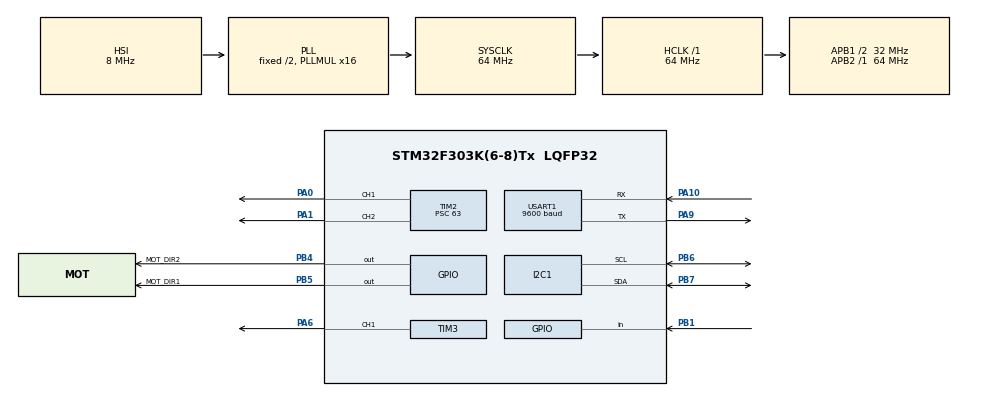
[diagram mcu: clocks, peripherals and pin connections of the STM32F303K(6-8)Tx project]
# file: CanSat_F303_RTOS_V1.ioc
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FREERTOS.Tasks01=MotorTask,8,128,StartMotorTask,Default,NULL,Dynamic,NULL,NULL;SensorTask,32,256,StartSensorTask,Default,NULL,Dynamic,NULL,NULL;NavTask,16,320,StartNavTask,Default,NULL,Dynamic,NULL,NULL;MissionTask,24,192,StartMissionTask,Default,NULL,Dynamic,NULL,NULL
FREERTOS.configTOTAL_HEAP_SIZE=5000
FREERTOS.configUSE_NEWLIB_REENTRANT=1
I2C1.Timing=0x00201D2B
Mcu.Family=STM32F3
Mcu.Name=STM32F303K(6-8)Tx
Mcu.Package=LQFP32
NVIC.PriorityGroup=NVIC_PRIORITYGROUP_4
NVIC.TIM1_UP_TIM16_IRQn=true\:15\:0\:true\:false\:true\:false\:false\:true\:true
NVIC.TimeBase=TIM1_UP_TIM16_IRQn
NVIC.TimeBaseIP=TIM1
NVIC.USART1_IRQn=true\:5\:0\:false\:false\:true\:true\:true\:true\:true
PA0.Signal=S_TIM2_CH1_ETR
PA1.Signal=S_TIM2_CH2
PA10.Mode=Asynchronous
PA10.Signal=USART1_RX
PA6.Signal=S_TIM3_CH1
PA9.Mode=Asynchronous
PA9.Signal=USART1_TX
PB1.GPIO_PuPd=GPIO_PULLUP
PB1.Signal=GPIO_Input
PB4.GPIO_Label=MOT_DIR2
PB4.Signal=GPIO_Output
PB5.GPIO_Label=MOT_DIR1
PB5.Signal=GPIO_Output
PB6.Mode=I2C
PB6.Signal=I2C1_SCL
PB7.Mode=I2C
PB7.Signal=I2C1_SDA
ProjectManager.HeapSize=0x200
ProjectManager.StackSize=0x400
ProjectManager.TargetToolchain=STM32CubeIDE
RCC.AHBFreq_Value=64000000
RCC.APB1CLKDivider=RCC_HCLK_DIV2
RCC.APB1Freq_Value=32000000
RCC.APB1TimFreq_Value=64000000
RCC.APB2Freq_Value=64000000
RCC.APB2TimFreq_Value=64000000
RCC.CortexFreq_Value=64000000
RCC.HCLKFreq_Value=64000000
RCC.HSE_VALUE=8000000
RCC.HSI_VALUE=8000000
RCC.PLLMUL=RCC_PLL_MUL16
RCC.SYSCLKFreq_VALUE=64000000
RCC.SYSCLKSourceVirtual=RCC_SYSCLKSOURCE_PLLCLK
SH.S_TIM2_CH1_ETR.0=TIM2_CH1,PWM Generation1 CH1
SH.S_TIM2_CH2.0=TIM2_CH2,PWM Generation2 CH2
SH.S_TIM3_CH1.0=TIM3_CH1,PWM Generation1 CH1
TIM2.AutoReloadPreload=TIM_AUTORELOAD_PRELOAD_ENABLE
TIM2.Channel-PWM\ Generation1\ CH1=TIM_CHANNEL_1
TIM2.Channel-PWM\ Generation2\ CH2=TIM_CHANNEL_2
TIM2.Period=19999
TIM2.Prescaler=63
TIM3.AutoReloadPreload=TIM_AUTORELOAD_PRELOAD_ENABLE
TIM3.Channel-PWM\ Generation1\ CH1=TIM_CHANNEL_1
TIM3.Period=999
TIM3.Prescaler=63
USART1.BaudRate=9600
USART1.VirtualMode-Asynchronous=VM_ASYNC
VP_FREERTOS_VS_CMSIS_V2.Mode=CMSIS_V2
VP_SYS_VS_tim1.Mode=TIM1
VP_TIM2_VS_ClockSourceINT.Mode=Internal
VP_TIM3_VS_ClockSourceINT.Mode=Internal
board=custom

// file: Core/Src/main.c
/* USER CODE BEGIN Header */

/**

******************************************************************************

* @file : main.c

* @brief : Main program body

******************************************************************************

* @attention

*

* Copyright (c) 2026 STMicroelectronics.

* All rights reserved.

*

* This software is licensed under terms that can be found in the LICENSE file

* in the root directory of this software component.

* If no LICENSE file comes with this software, it is provided AS-IS.

*

******************************************************************************

*/

/* USER CODE END Header */
#include "main.h"
#include "cmsis_os.h"

/* USER CODE BEGIN Includes */
#include <string.h> // Para manejar cadenas de texto
#include <stdlib.h> // Para funciones como atof
#include <math.h>   // VITAL para senos, cosenos y raíces
#include <stdio.h>
/* USER CODE END Includes */

/* USER CODE BEGIN PTD */

typedef enum {
    ST_STANDBY = 0,
    ST_FLIGHT,
    ST_DESCENT,
    ST_DEPLOYMENT,
    ST_LANDED
} MissionState_t;

MissionState_t current_state = ST_STANDBY;

/* USER CODE END PTD */

I2C_HandleTypeDef hi2c1;

TIM_HandleTypeDef htim2;
TIM_HandleTypeDef htim3;

UART_HandleTypeDef huart1;

/* Definitions for MotorTask */
osThreadId_t MotorTaskHandle;
const osThreadAttr_t MotorTask_attributes = {
  .name = "MotorTask",
  .stack_size = 128 * 4,
  .priority = (osPriority_t) osPriorityLow,
};
/* Definitions for SensorTask */
osThreadId_t SensorTaskHandle;
const osThreadAttr_t SensorTask_attributes = {
  .name = "SensorTask",
  .stack_size = 256 * 4,
  .priority = (osPriority_t) osPriorityAboveNormal,
};
/* Definitions for NavTask */
osThreadId_t NavTaskHandle;
const osThreadAttr_t NavTask_attributes = {
  .name = "NavTask",
  .stack_size = 320 * 4,
  .priority = (osPriority_t) osPriorityBelowNormal,
};
/* Definitions for MissionTask */
osThreadId_t MissionTaskHandle;
const osThreadAttr_t MissionTask_attributes = {
  .name = "MissionTask",
  .stack_size = 192 * 4,
  .priority = (osPriority_t) osPriorityNormal,
};
/* USER CODE BEGIN PV */
// 1. Identificadores de Hardware
volatile uint8_t sensor_id = 0, mag_id = 0, bmp_id = 0;

// 2. Datos Crudos (Raw) del MPU
float ax, ay, az;
float gx, gy, gz;

// 3. Filtro de Kernel (Promedio Móvil de 5 muestras)
// Estos arreglos guardan las últimas lecturas para "suavizarlas"
float ax_kernel[5] = {0}, ay_kernel[5] = {0}, az_kernel[5] = {0};
uint8_t k_idx = 0; // Índice del buffer circular
float ax_f, ay_f, az_f; // Valores ya filtrados

// 4. Orientación (Euler) y Fusión
float roll = 0.0f, pitch = 0.0f;
const float alpha = 0.98f; // Peso del filtro complementario
const float dt = 0.02f;    // Tiempo de muestreo (50Hz)

// 5. Variables GPS
uint8_t gps_data;
char gps_buffer[100];
uint8_t gps_idx = 0;
volatile uint8_t gps_ready = 0; // <--- AGREGAR ESTA LÍNEA
char msg_telemetria[160];
/* --- BMP280: Calibración y Datos --- */
uint16_t dig_T1; int16_t dig_T2, dig_T3;
uint16_t dig_P1; int16_t dig_P2, dig_P3, dig_P4, dig_P5, dig_P6, dig_P7, dig_P8, dig_P9;
//float sea_level_pa = 101325.0f; // Presión estándar al nivel del mar (ajustable)

float pressure_ref = 1013.25f; // Se actualizará al calibrar
volatile uint8_t calibrated = 0; // Flag de seguridad

float altitude = 0.0f;
volatile float temperature = 0.0f; // El volatile le prohíbe al compilador borrarla
float pressure_hpa = 0.0f; // <--- AGREGAR ESTA LÍNEA
volatile float mx, my, mz; // MicroTeslas

float last_altitude = 0.0f;
float vertical_velocity = 0.0f;
uint32_t last_tick = 0;

/* USER CODE END PV */

void SystemClock_Config(void);
static void MX_GPIO_Init(void);
static void MX_I2C1_Init(void);
static void MX_USART1_UART_Init(void);
static void MX_TIM3_Init(void);
static void MX_TIM2_Init(void);
void StartMotorTask(void *argument);
void StartSensorTask(void *argument);
void StartNavTask(void *argument);
void StartMissionTask(void *argument);

/* USER CODE BEGIN PFP */
float Compensate_Pressure(int32_t adc_P, int32_t adc_T);
/* USER CODE END PFP */

int main(void)
{

  /* MCU Configuration--------------------------------------------------------*/

  /* Reset of all peripherals, Initializes the Flash interface and the Systick. */
  HAL_Init();

  /* Configure the system clock */
  SystemClock_Config();

  /* USER CODE BEGIN 2 */

  MX_GPIO_Init();
  MX_I2C1_Init();
  MX_USART1_UART_Init();
  MX_TIM3_Init();
  MX_TIM2_Init();
  /* USER CODE BEGIN 2 */

  HAL_Delay(100);
  /* USER CODE BEGIN 2 */
  // --- TEST DE SUPERVIVENCIA PB6 Y PB7 ---
  HAL_UART_Transmit(&huart1, (uint8_t*)"[!] INICIANDO TEST DE FUERZA BRUTA EN PB6/PB7...\r\n", 51, 100);

  GPIO_InitTypeDef GPIO_InitStructTest = {0};
  __HAL_RCC_GPIOB_CLK_ENABLE();

  // Configuramos como OUTPUT PUSH-PULL (Fuerza máxima)
  GPIO_InitStructTest.Pin = GPIO_PIN_6 | GPIO_PIN_7;
  GPIO_InitStructTest.Mode = GPIO_MODE_OUTPUT_PP;
  GPIO_InitStructTest.Pull = GPIO_NOPULL;
  GPIO_InitStructTest.Speed = GPIO_SPEED_FREQ_LOW;
  HAL_GPIO_Init(GPIOB, &GPIO_InitStructTest);

  // FORZAMOS EL "1" LÓGICO (Debería dar 3.3V)
  HAL_GPIO_WritePin(GPIOB, GPIO_PIN_6 | GPIO_PIN_7, GPIO_PIN_SET);

  // Aquí te doy tiempo para medir con el multímetro
  HAL_Delay(10000);

  // LUEGO FORZAMOS EL "0" LÓGICO (Debería dar 0V)
  HAL_GPIO_WritePin(GPIOB, GPIO_PIN_6 | GPIO_PIN_7, GPIO_PIN_RESET);
  /* USER CODE END 2 */
  // 1. Reset y Despertar MPU
  uint8_t res_v = 0x80;
  HAL_I2C_Mem_Write(&hi2c1, (0x68<<1), 0x6B, 1, &res_v, 1, 100);
  HAL_Delay(50);
  uint8_t wk_up = 0x01;
  HAL_I2C_Mem_Write(&hi2c1, (0x68<<1), 0x6B, 1, &wk_up, 1, 100);

  // 2. Configurar el puente (Bypass) y desactivar Master Mode
  uint8_t master_dis = 0x00;
  HAL_I2C_Mem_Write(&hi2c1, (0x68<<1), 0x6A, 1, &master_dis, 1, 100);
  uint8_t byp = 0x02;
  HAL_I2C_Mem_Write(&hi2c1, (0x68<<1), 0x37, 1, &byp, 1, 100);
  HAL_Delay(10);

  // 3. LECTURA DE IDENTIDAD (Handshake) - Esto debe ir ANTES de los IF
  HAL_I2C_Mem_Read(&hi2c1, (0x68<<1), 0x75, 1, (uint8_t*)&sensor_id, 1, 100);
  HAL_I2C_Mem_Read(&hi2c1, (0x0C<<1), 0x00, 1, (uint8_t*)&mag_id, 1, 100);
  HAL_I2C_Mem_Read(&hi2c1, (0x76<<1), 0xD0, 1, (uint8_t*)&bmp_id, 1, 100);

  // 4. Inicializar BMP280 si fue detectado
  if(bmp_id == 0x58) {
      uint8_t bmp_conf = 0x57;
      HAL_I2C_Mem_Write(&hi2c1, (0x76<<1), 0xF4, 1, &bmp_conf, 1, 100);

      uint8_t calib[24];
      HAL_I2C_Mem_Read(&hi2c1, (0x76<<1), 0x88, 1, calib, 24, 100);
      dig_T1 = (calib[1] << 8) | calib[0];
      dig_T2 = (int16_t)((calib[3] << 8) | calib[2]);
      dig_T3 = (int16_t)((calib[5] << 8) | calib[4]);
      dig_P1 = (calib[7] << 8) | calib[6];
      dig_P2 = (int16_t)((calib[9] << 8) | calib[8]);
      dig_P3 = (int16_t)((calib[11] << 8) | calib[10]);
      dig_P4 = (int16_t)((calib[13] << 8) | calib[12]);
      dig_P5 = (int16_t)((calib[15] << 8) | calib[14]);
      dig_P6 = (int16_t)((calib[17] << 8) | calib[16]);
      dig_P7 = (int16_t)((calib[19] << 8) | calib[18]);
      dig_P8 = (int16_t)((calib[21] << 8) | calib[20]);
      dig_P9 = (int16_t)((calib[23] << 8) | calib[22]);
  }

  if(bmp_id == 0x58) {
      float p_sum = 0;
      for(int i = 0; i < 20; i++) {
          uint8_t b_data[6];
          HAL_I2C_Mem_Read(&hi2c1, (0x76<<1), 0xF7, 1, b_data, 6, 100);
          int32_t adc_P = (b_data[0] << 12) | (b_data[1] << 4) | (b_data[2] >> 4);
          int32_t adc_T = (b_data[3] << 12) | (b_data[4] << 4) | (b_data[5] >> 4);

          // AHORA SÍ calculamos la presión real en cada iteración
          p_sum += Compensate_Pressure(adc_P, adc_T);
          HAL_Delay(50);
      }
      pressure_ref = p_sum / 20.0f;
      calibrated = 1;
  }
  // 5. Inicializar Magnetómetro si fue detectado
  if(mag_id == 0x48) {
      uint8_t m_mode = 0x16;
      HAL_I2C_Mem_Write(&hi2c1, (0x0C<<1), 0x0A, 1, &m_mode, 1, 100);
  }

HAL_UART_Receive_IT(&huart1, &gps_data, 1);
  /* USER CODE END 2 */

  /* Init scheduler */
  osKernelInitialize();

  /* Create the thread(s) */
  /* creation of MotorTask */
  MotorTaskHandle = osThreadNew(StartMotorTask, NULL, &MotorTask_attributes);

  /* creation of SensorTask */
  SensorTaskHandle = osThreadNew(StartSensorTask, NULL, &SensorTask_attributes);

  /* creation of NavTask */
  NavTaskHandle = osThreadNew(StartNavTask, NULL, &NavTask_attributes);

  /* creation of MissionTask */
  MissionTaskHandle = osThreadNew(StartMissionTask, NULL, &MissionTask_attributes);

  /* Start scheduler */
  osKernelStart();

  /* We should never get here as control is now taken by the scheduler */

  /* Infinite loop */
  while (1)
  {

  }
}

void SystemClock_Config(void)
{
  RCC_OscInitTypeDef RCC_OscInitStruct = {0};
  RCC_ClkInitTypeDef RCC_ClkInitStruct = {0};
  RCC_PeriphCLKInitTypeDef PeriphClkInit = {0};

  /** Initializes the RCC Oscillators according to the specified parameters
  * in the RCC_OscInitTypeDef structure.
  */
  RCC_OscInitStruct.OscillatorType = RCC_OSCILLATORTYPE_HSI;
  RCC_OscInitStruct.HSIState = RCC_HSI_ON;
  RCC_OscInitStruct.HSICalibrationValue = RCC_HSICALIBRATION_DEFAULT;
  RCC_OscInitStruct.PLL.PLLState = RCC_PLL_ON;
  RCC_OscInitStruct.PLL.PLLSource = RCC_PLLSOURCE_HSI;
  RCC_OscInitStruct.PLL.PLLMUL = RCC_PLL_MUL16;
  if (HAL_RCC_OscConfig(&RCC_OscInitStruct) != HAL_OK)
  {
    Error_Handler();
  }

  /** Initializes the CPU, AHB and APB buses clocks
  */
  RCC_ClkInitStruct.ClockType = RCC_CLOCKTYPE_HCLK|RCC_CLOCKTYPE_SYSCLK
                              |RCC_CLOCKTYPE_PCLK1|RCC_CLOCKTYPE_PCLK2;
  RCC_ClkInitStruct.SYSCLKSource = RCC_SYSCLKSOURCE_PLLCLK;
  RCC_ClkInitStruct.AHBCLKDivider = RCC_SYSCLK_DIV1;
  RCC_ClkInitStruct.APB1CLKDivider = RCC_HCLK_DIV2;
  RCC_ClkInitStruct.APB2CLKDivider = RCC_HCLK_DIV1;

  if (HAL_RCC_ClockConfig(&RCC_ClkInitStruct, FLASH_LATENCY_2) != HAL_OK)
  {
    Error_Handler();
  }
  PeriphClkInit.PeriphClockSelection = RCC_PERIPHCLK_USART1|RCC_PERIPHCLK_I2C1;
  PeriphClkInit.Usart1ClockSelection = RCC_USART1CLKSOURCE_PCLK1;
  PeriphClkInit.I2c1ClockSelection = RCC_I2C1CLKSOURCE_HSI;
  if (HAL_RCCEx_PeriphCLKConfig(&PeriphClkInit) != HAL_OK)
  {
    Error_Handler();
  }
}

static void MX_I2C1_Init(void)
{

  hi2c1.Instance = I2C1;
  hi2c1.Init.Timing = 0x00201D2B;
  hi2c1.Init.OwnAddress1 = 0;
  hi2c1.Init.AddressingMode = I2C_ADDRESSINGMODE_7BIT;
  hi2c1.Init.DualAddressMode = I2C_DUALADDRESS_DISABLE;
  hi2c1.Init.OwnAddress2 = 0;
  hi2c1.Init.OwnAddress2Masks = I2C_OA2_NOMASK;
  hi2c1.Init.GeneralCallMode = I2C_GENERALCALL_DISABLE;
  hi2c1.Init.NoStretchMode = I2C_NOSTRETCH_DISABLE;
  if (HAL_I2C_Init(&hi2c1) != HAL_OK)
  {
    Error_Handler();
  }

  /** Configure Analogue filter
  */
  if (HAL_I2CEx_ConfigAnalogFilter(&hi2c1, I2C_ANALOGFILTER_ENABLE) != HAL_OK)
  {
    Error_Handler();
  }

  /** Configure Digital filter
  */
  if (HAL_I2CEx_ConfigDigitalFilter(&hi2c1, 0) != HAL_OK)
  {
    Error_Handler();
  }

}

static void MX_TIM2_Init(void)
{

  TIM_ClockConfigTypeDef sClockSourceConfig = {0};
  TIM_MasterConfigTypeDef sMasterConfig = {0};
  TIM_OC_InitTypeDef sConfigOC = {0};

  htim2.Instance = TIM2;
  htim2.Init.Prescaler = 63;
  htim2.Init.CounterMode = TIM_COUNTERMODE_UP;
  htim2.Init.Period = 19999;
  htim2.Init.ClockDivision = TIM_CLOCKDIVISION_DIV1;
  htim2.Init.AutoReloadPreload = TIM_AUTORELOAD_PRELOAD_ENABLE;
  if (HAL_TIM_Base_Init(&htim2) != HAL_OK)
  {
    Error_Handler();
  }
  sClockSourceConfig.ClockSource = TIM_CLOCKSOURCE_INTERNAL;
  if (HAL_TIM_ConfigClockSource(&htim2, &sClockSourceConfig) != HAL_OK)
  {
    Error_Handler();
  }
  if (HAL_TIM_PWM_Init(&htim2) != HAL_OK)
  {
    Error_Handler();
  }
  sMasterConfig.MasterOutputTrigger = TIM_TRGO_RESET;
  sMasterConfig.MasterSlaveMode = TIM_MASTERSLAVEMODE_DISABLE;
  if (HAL_TIMEx_MasterConfigSynchronization(&htim2, &sMasterConfig) != HAL_OK)
  {
    Error_Handler();
  }
  sConfigOC.OCMode = TIM_OCMODE_PWM1;
  sConfigOC.Pulse = 0;
  sConfigOC.OCPolarity = TIM_OCPOLARITY_HIGH;
  sConfigOC.OCFastMode = TIM_OCFAST_DISABLE;
  if (HAL_TIM_PWM_ConfigChannel(&htim2, &sConfigOC, TIM_CHANNEL_1) != HAL_OK)
  {
    Error_Handler();
  }
  if (HAL_TIM_PWM_ConfigChannel(&htim2, &sConfigOC, TIM_CHANNEL_2) != HAL_OK)
  {
    Error_Handler();
  }
  HAL_TIM_MspPostInit(&htim2);

}

static void MX_TIM3_Init(void)
{

  TIM_ClockConfigTypeDef sClockSourceConfig = {0};
  TIM_MasterConfigTypeDef sMasterConfig = {0};
  TIM_OC_InitTypeDef sConfigOC = {0};

  htim3.Instance = TIM3;
  htim3.Init.Prescaler = 63;
  htim3.Init.CounterMode = TIM_COUNTERMODE_UP;
  htim3.Init.Period = 999;
  htim3.Init.ClockDivision = TIM_CLOCKDIVISION_DIV1;
  htim3.Init.AutoReloadPreload = TIM_AUTORELOAD_PRELOAD_ENABLE;
  if (HAL_TIM_Base_Init(&htim3) != HAL_OK)
  {
    Error_Handler();
  }
  sClockSourceConfig.ClockSource = TIM_CLOCKSOURCE_INTERNAL;
  if (HAL_TIM_ConfigClockSource(&htim3, &sClockSourceConfig) != HAL_OK)
  {
    Error_Handler();
  }
  if (HAL_TIM_PWM_Init(&htim3) != HAL_OK)
  {
    Error_Handler();
  }
  sMasterConfig.MasterOutputTrigger = TIM_TRGO_RESET;
  sMasterConfig.MasterSlaveMode = TIM_MASTERSLAVEMODE_DISABLE;
  if (HAL_TIMEx_MasterConfigSynchronization(&htim3, &sMasterConfig) != HAL_OK)
  {
    Error_Handler();
  }
  sConfigOC.OCMode = TIM_OCMODE_PWM1;
  sConfigOC.Pulse = 0;
  sConfigOC.OCPolarity = TIM_OCPOLARITY_HIGH;
  sConfigOC.OCFastMode = TIM_OCFAST_DISABLE;
  if (HAL_TIM_PWM_ConfigChannel(&htim3, &sConfigOC, TIM_CHANNEL_1) != HAL_OK)
  {
    Error_Handler();
  }
  HAL_TIM_MspPostInit(&htim3);

}

static void MX_USART1_UART_Init(void)
{

  huart1.Instance = USART1;
  huart1.Init.BaudRate = 9600;
  huart1.Init.WordLength = UART_WORDLENGTH_8B;
  huart1.Init.StopBits = UART_STOPBITS_1;
  huart1.Init.Parity = UART_PARITY_NONE;
  huart1.Init.Mode = UART_MODE_TX_RX;
  huart1.Init.HwFlowCtl = UART_HWCONTROL_NONE;
  huart1.Init.OverSampling = UART_OVERSAMPLING_16;
  huart1.Init.OneBitSampling = UART_ONE_BIT_SAMPLE_DISABLE;
  huart1.AdvancedInit.AdvFeatureInit = UART_ADVFEATURE_NO_INIT;
  if (HAL_UART_Init(&huart1) != HAL_OK)
  {
    Error_Handler();
  }

}

static void MX_GPIO_Init(void)
{
  GPIO_InitTypeDef GPIO_InitStruct = {0};

  /* GPIO Ports Clock Enable */
  __HAL_RCC_GPIOA_CLK_ENABLE();
  __HAL_RCC_GPIOB_CLK_ENABLE();

  /*Configure GPIO pin Output Level */
  HAL_GPIO_WritePin(GPIOB, MOT_DIR2_Pin|MOT_DIR1_Pin, GPIO_PIN_RESET);

  /*Configure GPIO pin : PB1 */
  GPIO_InitStruct.Pin = GPIO_PIN_1;
  GPIO_InitStruct.Mode = GPIO_MODE_INPUT;
  GPIO_InitStruct.Pull = GPIO_PULLUP;
  HAL_GPIO_Init(GPIOB, &GPIO_InitStruct);

  /*Configure GPIO pins : MOT_DIR2_Pin MOT_DIR1_Pin */
  GPIO_InitStruct.Pin = MOT_DIR2_Pin|MOT_DIR1_Pin;
  GPIO_InitStruct.Mode = GPIO_MODE_OUTPUT_PP;
  GPIO_InitStruct.Pull = GPIO_NOPULL;
  GPIO_InitStruct.Speed = GPIO_SPEED_FREQ_LOW;
  HAL_GPIO_Init(GPIOB, &GPIO_InitStruct);

}

/* USER CODE BEGIN 4 */
void HAL_UART_RxCpltCallback(UART_HandleTypeDef *huart) {
    if (huart->Instance == USART1) {
        // Almacenamos el byte recibido en el buffer
        if (gps_data != '\n' && gps_idx < 99) {
            gps_buffer[gps_idx++] = gps_data;
        } else {
            gps_buffer[gps_idx] = '\0'; // Cerramos la cadena
            gps_ready = 1;              // Avisamos que hay una trama lista
            gps_idx = 0;                // Reiniciamos índice
        }
        // ¡VITAL! Volver a activar la interrupción para el siguiente byte
        HAL_UART_Receive_IT(&huart1, &gps_data, 1);
    }
}

float Compensate_Pressure(int32_t adc_P, int32_t adc_T) {
    double v1, v2, t_fine, p_var1, p_var2, p;

    // Compensación de Temperatura
    v1 = (((double)adc_T)/16384.0 - ((double)dig_T1)/1024.0) * ((double)dig_T2);
    v2 = ((((double)adc_T)/131072.0 - ((double)dig_T1)/8192.0) *
         (((double)adc_T)/131072.0 - ((double)dig_T1)/8192.0)) * ((double)dig_T3);
    t_fine = v1 + v2;
    temperature = (float)(t_fine / 5120.0);
    // Compensación de Presión
    p_var1 = (t_fine/2.0) - 64000.0;
    p_var2 = p_var1 * p_var1 * ((double)dig_P6) / 32768.0;
    p_var2 = p_var2 + p_var1 * ((double)dig_P5) * 2.0;
    p_var2 = (p_var2/4.0) + (((double)dig_P4) * 65536.0);
    p_var1 = (((double)dig_P3) * p_var1 * p_var1 / 524288.0 + ((double)dig_P2) * p_var1) / 524288.0;
    p_var1 = (1.0 + p_var1 / 32768.0) * ((double)dig_P1);

    if (p_var1 == 0.0) return 0;
    p = 1048576.0 - (double)adc_P;
    p = (p - (p_var2 / 4096.0)) * 6250.0 / p_var1;
    p_var1 = ((double)dig_P9) * p * p / 2147483648.0;
    p_var2 = p * ((double)dig_P8) / 32768.0;
    return (float)((p + (p_var1 + p_var2 + ((double)dig_P7)) / 16.0) / 100.0);
}

void HAL_UART_ErrorCallback(UART_HandleTypeDef *huart) {
    if (huart->Instance == USART1) {
        // 1. Limpiar flags de error (Overrun, Noise, Frame Error)
        __HAL_UART_CLEAR_FLAG(huart, UART_CLEAR_OREF | UART_CLEAR_NEF | UART_CLEAR_FEF);

        // 2. Reiniciar la escucha por interrupción
        HAL_UART_Receive_IT(huart, &gps_data, 1);
    }
}
/* USER CODE END 4 */

void StartMotorTask(void *argument)
{
  /* USER CODE BEGIN StartMotorTask */
  // 1. Arrancamos los periféricos de hardware
  HAL_TIM_PWM_Start(&htim2, TIM_CHANNEL_1); // Servo 1
  HAL_TIM_PWM_Start(&htim2, TIM_CHANNEL_2); // Servo 2
  HAL_TIM_PWM_Start(&htim3, TIM_CHANNEL_1); // Motor N20

  // 2. Aseguramos que empiecen en REPOSO (0V)
  __HAL_TIM_SET_COMPARE(&htim2, TIM_CHANNEL_1, 0);
  __HAL_TIM_SET_COMPARE(&htim2, TIM_CHANNEL_2, 0);
  __HAL_TIM_SET_COMPARE(&htim3, TIM_CHANNEL_1, 0);

  HAL_UART_Transmit(&huart1, (uint8_t*)"\r\n[!] MOTOR_TASK: READY\r\n", 26, 100);

  for(;;) {
    // Esperamos la señal de la MissionTask (Infrarrojo o Altura)
    uint32_t flags = osThreadFlagsWait(0x01, osFlagsWaitAny, osWaitForever);

    if(flags == 0x01) {
        HAL_UART_Transmit(&huart1, (uint8_t*)"[!] DESPLIEGUE INICIADO\r\n", 25, 100);

        // A. Movemos Servos (MG90S a ~45 grados -> 1250us)
        __HAL_TIM_SET_COMPARE(&htim2, TIM_CHANNEL_1, 1250);
        __HAL_TIM_SET_COMPARE(&htim2, TIM_CHANNEL_2, 1250);

        osDelay(200); // Pausa para evitar pico de corriente masivo

        // B. Arrancamos Motor N20 (80% potencia para vencer inercia)
        HAL_GPIO_WritePin(GPIOB, MOT_DIR1_Pin, GPIO_PIN_SET);
        HAL_GPIO_WritePin(GPIOB, MOT_DIR2_Pin, GPIO_PIN_RESET);
        __HAL_TIM_SET_COMPARE(&htim3, TIM_CHANNEL_1, 800);
    }
  }
  /* USER CODE END StartMotorTask */
}

void StartSensorTask(void *argument)
{
  /* USER CODE BEGIN StartSensorTask */
  uint8_t mpu_buf[14]; // Buffer para lectura rápida (Burst Read)

  for(;;)
  {
    // Solo leemos si el sensor respondió al inicio (ID 112 o 113)
    if(sensor_id != 0)
    {
    	// --- LECTURA MAGNETÓMETRO (AK8963) ---
    	if(mag_id == 0x48) // Solo si lo encontró al inicio
    	{
    	    uint8_t m_buf[7]; // 6 bytes de datos + 1 de Status (ST2)
    	    // Leemos desde el registro 0x03 (X-Low) hasta el 0x09 (Status 2)
    	    if(HAL_I2C_Mem_Read(&hi2c1, (0x0C<<1), 0x03, 1, m_buf, 7, 20) == HAL_OK)
    	    {
    	        // Los datos son Little Endian (Byte bajo primero)
    	        // El factor 0.15f convierte el valor crudo a MicroTeslas (uT)
    	        mx = (int16_t)(m_buf[1] << 8 | m_buf[0]) * 0.15f;
    	        my = (int16_t)(m_buf[3] << 8 | m_buf[2]) * 0.15f;
    	        mz = (int16_t)(m_buf[5] << 8 | m_buf[4]) * 0.15f;
    	    }
    	}
      if(HAL_I2C_Mem_Read(&hi2c1, (0x68<<1), 0x3B, 1, mpu_buf, 14, 20) == HAL_OK)
      {
        // 1. Convertir datos crudos a unidades físicas (Aceleración y Giro)
        float raw_ax = (int16_t)(mpu_buf[0] << 8 | mpu_buf[1]) / 16384.0f;
        float raw_ay = (int16_t)(mpu_buf[2] << 8 | mpu_buf[3]) / 16384.0f;
        float raw_az = (int16_t)(mpu_buf[4] << 8 | mpu_buf[5]) / 16384.0f;

        gx = ((int16_t)(mpu_buf[8] << 8 | mpu_buf[9]) / 131.0f);
        gy = ((int16_t)(mpu_buf[10] << 8 | mpu_buf[11]) / 131.0f);
        gz = ((int16_t)(mpu_buf[12] << 8 | mpu_buf[13]) / 131.0f);

        // ... dentro del bloque HAL_OK ...
        // 2. APLICAR FILTRO DE KERNEL (Promedio Móvil)
        ax_kernel[k_idx] = raw_ax;
        ay_kernel[k_idx] = raw_ay;
        az_kernel[k_idx] = raw_az;
        k_idx = (k_idx + 1) % 5;

        // Promedios corregidos
        ax_f = (ax_kernel[0] + ax_kernel[1] + ax_kernel[2] + ax_kernel[3] + ax_kernel[4]) / 5.0f;
        ay_f = (ay_kernel[0] + ay_kernel[1] + ay_kernel[2] + ay_kernel[3] + ay_kernel[4]) / 5.0f;
        az_f = (az_kernel[0] + az_kernel[1] + az_kernel[2] + az_kernel[3] + az_kernel[4]) / 5.0f; // <--- Cambiar 'ax' por 'az'
      }

      float roll_acc = atan2f(ay_f, az_f) * 57.2957f;
      float pitch_acc = atan2f(-ax_f, sqrtf(ay_f * ay_f + az_f * az_f)) * 57.2957f;

      roll = alpha * (roll + gx * dt) + (1.0f - alpha) * roll_acc;
      pitch = alpha * (pitch + gy * dt) + (1.0f - alpha) * pitch_acc;
    }

    /* --- LECTURA BARÓMETRO --- */
    if(bmp_id == 0x58) {
        uint8_t b_data[6];
        if(HAL_I2C_Mem_Read(&hi2c1, (0x76<<1), 0xF7, 1, b_data, 6, 20) == HAL_OK) {
            int32_t adc_P = (b_data[0] << 12) | (b_data[1] << 4) | (b_data[2] >> 4);
            int32_t adc_T = (b_data[3] << 12) | (b_data[4] << 4) | (b_data[5] >> 4);

            // Usamos la función de compensación
            pressure_hpa = Compensate_Pressure(adc_P, adc_T);

            // Altitud relativa al suelo de Cali/Pasto
            altitude = 44330.0f * (1.0f - powf(pressure_hpa / pressure_ref, 0.1903f));

            // Cálculo de Velocidad Vertical
            uint32_t current_tick = osKernelGetTickCount();
            float dt_v = (current_tick - last_tick) / 1000.0f;

            if(dt_v > 0) {
                vertical_velocity = (altitude - last_altitude) / dt_v;
                last_altitude = altitude;
                last_tick = current_tick;
            }
        }
    } // <--- Solo una llave para cerrar el if(bmp_id)

    osDelay(20); // Muestreo a 50Hz (Consistente con el dt de 0.02s)
}
  /* USER CODE END StartSensorTask */
}

void StartNavTask(void *argument)
{
  /* USER CODE BEGIN StartNavTask */
  for(;;) {
      // 1. Preparamos los datos con casting a (long) para evitar los warnings
      int32_t i_alt_int = (int32_t)altitude;
      int32_t i_alt_dec = (int32_t)abs((int32_t)((altitude - i_alt_int) * 10));

      int32_t temp_int = (int32_t)temperature;
      int32_t temp_dec = (int32_t)abs((int32_t)((temperature - temp_int) * 10));

      // 2. sprintf usando %ld y casting explícito a (long)
      // Esto elimina el warning de "type mismatch"
      int len = sprintf(msg_telemetria, "ATISQUE,ST:%d,A:%ld.%ld,T:%ld.%ld,GPS:%s\r\n",
                       (int)current_state,
                       (long)i_alt_int, (long)i_alt_dec,
                       (long)temp_int, (long)temp_dec,
                       gps_buffer);

      // 3. Transmisión
      HAL_UART_Transmit(&huart1, (uint8_t*)msg_telemetria, len, 100);

      osDelay(200); // Telemetría a 5Hz.
  }
  /* USER CODE END StartNavTask */
}

void StartMissionTask(void *argument)
{
  /* USER CODE BEGIN StartMissionTask */
  for(;;) {
      /* * --- MODO DE PRUEBA 2: DISPARO POR INFRARROJO (PB1) ---
       * Nota: La mayoría de sensores IR envían un '0' (RESET) al detectar obstáculo.
       */
      if(HAL_GPIO_ReadPin(GPIOB, GPIO_PIN_1) == GPIO_PIN_RESET && current_state == ST_STANDBY)
      {
          current_state = ST_DEPLOYMENT;

          // Activamos la bandera para la tarea de motores
          osThreadFlagsSet(MotorTaskHandle, 0x01);
      }

      /* --- CÓDIGO DE TEMPERATURA (COMENTADO) ---
      if(temperature >= 37.0f && current_state == ST_STANDBY) {
          current_state = ST_DEPLOYMENT;
          osThreadFlagsSet(MotorTaskHandle, 0x01);
      }
      ------------------------------------------ */

      /* --- CÓDIGO ORIGINAL DE VUELO (COMENTADO PARA LA COMPETENCIA UNAM) ---
      switch(current_state) {
          case ST_STANDBY:
              if(altitude > 20.0f) current_state = ST_FLIGHT;
              break;
          case ST_FLIGHT:
              if(vertical_velocity < -1.5f) current_state = ST_DESCENT;
              break;
          case ST_DESCENT:
              if(altitude <= 350.0f) {
                  current_state = ST_DEPLOYMENT;
                  osThreadFlagsSet(MotorTaskHandle, 0x01);
              }
              break;
          case ST_DEPLOYMENT:
              if(altitude < 5.0f) current_state = ST_LANDED;
              break;
      }
      ---------------------------------------------------------------------- */

      osDelay(50); // Reducimos a 50ms para una respuesta más rápida al pasar la mano
  }
  /* USER CODE END StartMissionTask */
}

void HAL_TIM_PeriodElapsedCallback(TIM_HandleTypeDef *htim)
{
  if (htim->Instance == TIM1)
  {
    HAL_IncTick();
  }
}

void Error_Handler(void)
{
__disable_irq();
while (1)
{
}
}
